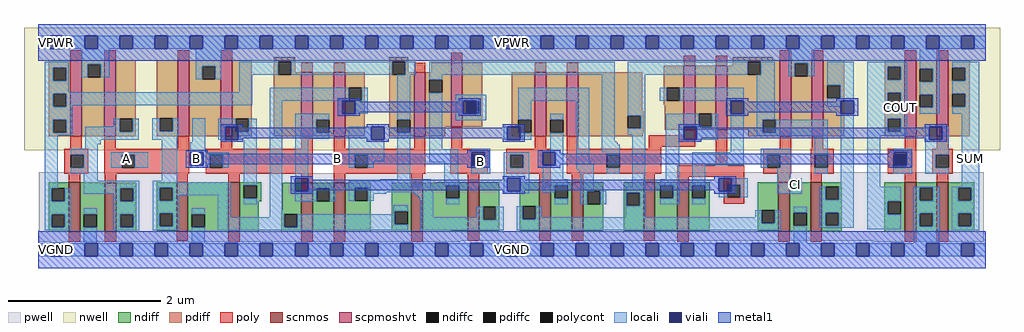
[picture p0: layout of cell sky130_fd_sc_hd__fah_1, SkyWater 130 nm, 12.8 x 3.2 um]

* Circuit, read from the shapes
.subckt sky130_fd_sc_hd__fah_1 A B CI VGND VNB VPB VPWR COUT SUM
XM1 VGND n1 n2 VNB sky130_fd_pr__nfet_01v8 w=0.65 l=0.15
XM2 n1 A VGND VNB sky130_fd_pr__nfet_01v8 w=0.64 l=0.15
XM3 VGND A n3 VNB sky130_fd_pr__nfet_01v8 w=0.64 l=0.15
XM4 n4 B VGND VNB sky130_fd_pr__nfet_01v8 w=0.65 l=0.15
XM5 n5 B n3 VNB sky130_fd_pr__nfet_01v8 w=0.64 l=0.15
XM6 n2 n4 n5 VNB sky130_fd_pr__nfet_01v8 w=0.64 l=0.15
XM7 n6 n4 n3 VNB sky130_fd_pr__nfet_01v8 w=0.64 l=0.15
XM8 n2 B n6 VNB sky130_fd_pr__nfet_01v8 w=0.64 l=0.15
XM9 n7 n5 n8 VNB sky130_fd_pr__nfet_01v8 w=0.64 l=0.15
XM10 n4 n6 n7 VNB sky130_fd_pr__nfet_01v8 w=0.64 l=0.15
XM11 n9 n6 n8 VNB sky130_fd_pr__nfet_01v8 w=0.64 l=0.15
XM12 n10 n5 n9 VNB sky130_fd_pr__nfet_01v8 w=0.64 l=0.15
XM13 VGND CI n8 VNB sky130_fd_pr__nfet_01v8 w=0.64 l=0.15
XM14 n10 n8 VGND VNB sky130_fd_pr__nfet_01v8 w=0.64 l=0.15
XM15 VGND n7 COUT VNB sky130_fd_pr__nfet_01v8 w=0.65 l=0.15
XM16 SUM n9 VGND VNB sky130_fd_pr__nfet_01v8 w=0.65 l=0.15
XM17 VPWR n1 n2 VPB sky130_fd_pr__pfet_01v8_hvt w=1 l=0.15
XM18 n1 A VPWR VPB sky130_fd_pr__pfet_01v8_hvt w=1 l=0.15
XM19 VPWR A n3 VPB sky130_fd_pr__pfet_01v8_hvt w=1 l=0.15
XM20 n4 B VPWR VPB sky130_fd_pr__pfet_01v8_hvt w=1 l=0.15
XM21 n5 B n2 VPB sky130_fd_pr__pfet_01v8_hvt w=0.84 l=0.15
XM22 n3 n4 n5 VPB sky130_fd_pr__pfet_01v8_hvt w=0.84 l=0.15
XM23 n6 n4 n2 VPB sky130_fd_pr__pfet_01v8_hvt w=0.84 l=0.15
XM24 n3 B n6 VPB sky130_fd_pr__pfet_01v8_hvt w=0.84 l=0.15
XM25 n7 n5 n4 VPB sky130_fd_pr__pfet_01v8_hvt w=0.84 l=0.15
XM26 n8 n6 n7 VPB sky130_fd_pr__pfet_01v8_hvt w=0.84 l=0.15
XM27 n9 n6 n10 VPB sky130_fd_pr__pfet_01v8_hvt w=0.84 l=0.15
XM28 n8 n5 n9 VPB sky130_fd_pr__pfet_01v8_hvt w=0.84 l=0.15
XM29 VPWR CI n8 VPB sky130_fd_pr__pfet_01v8_hvt w=1 l=0.15
XM30 n10 n8 VPWR VPB sky130_fd_pr__pfet_01v8_hvt w=1 l=0.15
XM31 VPWR n7 COUT VPB sky130_fd_pr__pfet_01v8_hvt w=1 l=0.15
XM32 SUM n9 VPWR VPB sky130_fd_pr__pfet_01v8_hvt w=1 l=0.15
.ends

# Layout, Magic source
magic
tech sky130B
magscale 1 2
<< nwell >>
rect -38 261 2522 582
<< pwell >>
rect 1 201 610 203
rect 1019 201 2480 203
rect 1 23 2480 201
rect 1 21 1106 23
rect 2192 21 2480 23
rect 29 -17 63 21
<< scnmos >>
rect 79 47 109 177
rect 174 47 204 175
rect 362 49 392 177
rect 498 47 528 177
rect 689 47 719 175
rect 774 47 804 175
rect 978 47 1008 175
rect 1126 49 1156 177
rect 1314 49 1344 177
rect 1399 49 1429 177
rect 1587 49 1617 177
rect 1675 49 1705 177
rect 1941 49 1971 177
rect 2025 49 2055 177
rect 2272 47 2302 177
rect 2356 47 2386 177
<< scpmoshvt >>
rect 83 297 113 497
rect 173 297 203 497
rect 365 297 395 497
rect 478 297 508 497
rect 689 297 719 465
rect 774 297 804 465
rect 985 297 1015 465
rect 1082 322 1112 490
rect 1302 297 1332 465
rect 1386 297 1416 465
rect 1692 315 1722 483
rect 1776 315 1806 483
rect 1944 297 1974 497
rect 2028 297 2058 497
rect 2272 297 2302 497
rect 2356 297 2386 497
<< ndiff >>
rect 27 161 79 177
rect 27 127 35 161
rect 69 127 79 161
rect 27 93 79 127
rect 27 59 35 93
rect 69 59 79 93
rect 27 47 79 59
rect 109 175 159 177
rect 109 93 174 175
rect 109 59 119 93
rect 153 59 174 93
rect 109 47 174 59
rect 204 161 256 175
rect 204 127 214 161
rect 248 127 256 161
rect 204 93 256 127
rect 204 59 214 93
rect 248 59 256 93
rect 204 47 256 59
rect 310 163 362 177
rect 310 129 318 163
rect 352 129 362 163
rect 310 95 362 129
rect 310 61 318 95
rect 352 61 362 95
rect 310 49 362 61
rect 392 93 498 177
rect 392 59 402 93
rect 436 59 498 93
rect 392 49 498 59
rect 431 47 498 49
rect 528 169 584 177
rect 1045 175 1126 177
rect 528 135 538 169
rect 572 135 584 169
rect 528 127 584 135
rect 528 47 578 127
rect 639 104 689 175
rect 637 93 689 104
rect 637 59 645 93
rect 679 59 689 93
rect 637 47 689 59
rect 719 161 774 175
rect 719 127 730 161
rect 764 127 774 161
rect 719 47 774 127
rect 804 163 872 175
rect 804 129 830 163
rect 864 129 872 163
rect 804 47 872 129
rect 926 101 978 175
rect 926 67 934 101
rect 968 67 978 101
rect 926 47 978 67
rect 1008 169 1126 175
rect 1008 135 1070 169
rect 1104 135 1126 169
rect 1008 49 1126 135
rect 1156 113 1208 177
rect 1156 79 1166 113
rect 1200 79 1208 113
rect 1156 49 1208 79
rect 1262 114 1314 177
rect 1262 80 1270 114
rect 1304 80 1314 114
rect 1262 49 1314 80
rect 1344 169 1399 177
rect 1344 135 1354 169
rect 1388 135 1399 169
rect 1344 49 1399 135
rect 1429 153 1481 177
rect 1429 119 1439 153
rect 1473 119 1481 153
rect 1429 49 1481 119
rect 1535 149 1587 177
rect 1535 115 1543 149
rect 1577 115 1587 149
rect 1535 49 1587 115
rect 1617 169 1675 177
rect 1617 135 1631 169
rect 1665 135 1675 169
rect 1617 49 1675 135
rect 1705 169 1761 177
rect 1705 135 1715 169
rect 1749 135 1761 169
rect 1705 49 1761 135
rect 1887 103 1941 177
rect 1887 69 1897 103
rect 1931 69 1941 103
rect 1887 49 1941 69
rect 1971 97 2025 177
rect 1971 63 1981 97
rect 2015 63 2025 97
rect 1971 49 2025 63
rect 2055 165 2107 177
rect 2055 131 2065 165
rect 2099 131 2107 165
rect 2055 97 2107 131
rect 2055 63 2065 97
rect 2099 63 2107 97
rect 2055 49 2107 63
rect 2218 127 2272 177
rect 2218 93 2228 127
rect 2262 93 2272 127
rect 1008 47 1080 49
rect 2218 47 2272 93
rect 2302 163 2356 177
rect 2302 129 2312 163
rect 2346 129 2356 163
rect 2302 95 2356 129
rect 2302 61 2312 95
rect 2346 61 2356 95
rect 2302 47 2356 61
rect 2386 163 2454 177
rect 2386 129 2412 163
rect 2446 129 2454 163
rect 2386 95 2454 129
rect 2386 61 2412 95
rect 2446 61 2454 95
rect 2386 47 2454 61
<< pdiff >>
rect 27 477 83 497
rect 27 443 39 477
rect 73 443 83 477
rect 27 409 83 443
rect 27 375 39 409
rect 73 375 83 409
rect 27 341 83 375
rect 27 307 39 341
rect 73 307 83 341
rect 27 297 83 307
rect 113 486 173 497
rect 113 452 129 486
rect 163 452 173 486
rect 113 297 173 452
rect 203 343 255 497
rect 203 309 213 343
rect 247 309 255 343
rect 203 297 255 309
rect 310 345 365 497
rect 310 311 318 345
rect 352 311 365 345
rect 310 297 365 311
rect 395 481 478 497
rect 395 447 429 481
rect 463 447 478 481
rect 395 297 478 447
rect 508 343 560 497
rect 508 309 518 343
rect 552 309 560 343
rect 508 297 560 309
rect 617 493 674 505
rect 617 459 629 493
rect 663 465 674 493
rect 920 493 970 505
rect 663 459 689 465
rect 617 297 689 459
rect 719 341 774 465
rect 719 307 729 341
rect 763 307 774 341
rect 719 297 774 307
rect 804 425 856 465
rect 804 391 814 425
rect 848 391 856 425
rect 804 297 856 391
rect 920 459 928 493
rect 962 465 970 493
rect 1030 465 1082 490
rect 962 459 985 465
rect 920 341 985 459
rect 920 307 941 341
rect 975 307 985 341
rect 920 297 985 307
rect 1015 446 1082 465
rect 1015 412 1025 446
rect 1059 412 1082 446
rect 1015 322 1082 412
rect 1112 390 1164 490
rect 1821 497 1926 505
rect 1821 493 1944 497
rect 1821 483 1861 493
rect 1112 356 1122 390
rect 1156 356 1164 390
rect 1112 322 1164 356
rect 1241 341 1302 465
rect 1015 297 1067 322
rect 1241 307 1258 341
rect 1292 307 1302 341
rect 1241 297 1302 307
rect 1332 341 1386 465
rect 1332 307 1342 341
rect 1376 307 1386 341
rect 1332 297 1386 307
rect 1416 363 1584 465
rect 1640 425 1692 483
rect 1640 391 1648 425
rect 1682 391 1692 425
rect 1640 380 1692 391
rect 1416 352 1588 363
rect 1416 318 1546 352
rect 1580 318 1588 352
rect 1416 308 1588 318
rect 1642 315 1692 380
rect 1722 357 1776 483
rect 1722 323 1732 357
rect 1766 323 1776 357
rect 1722 315 1776 323
rect 1806 459 1861 483
rect 1895 459 1944 493
rect 1806 341 1944 459
rect 1806 315 1900 341
rect 1416 307 1587 308
rect 1416 297 1585 307
rect 1862 307 1900 315
rect 1934 307 1944 341
rect 1862 297 1944 307
rect 1974 489 2028 497
rect 1974 455 1984 489
rect 2018 455 2028 489
rect 1974 297 2028 455
rect 2058 431 2114 497
rect 2058 397 2069 431
rect 2103 397 2114 431
rect 2058 297 2114 397
rect 2220 480 2272 497
rect 2220 446 2228 480
rect 2262 446 2272 480
rect 2220 412 2272 446
rect 2220 378 2228 412
rect 2262 378 2272 412
rect 2220 344 2272 378
rect 2220 310 2228 344
rect 2262 310 2272 344
rect 2220 297 2272 310
rect 2302 475 2356 497
rect 2302 441 2312 475
rect 2346 441 2356 475
rect 2302 407 2356 441
rect 2302 373 2312 407
rect 2346 373 2356 407
rect 2302 297 2356 373
rect 2386 477 2443 497
rect 2386 443 2397 477
rect 2431 443 2443 477
rect 2386 409 2443 443
rect 2386 375 2397 409
rect 2431 375 2443 409
rect 2386 297 2443 375
<< ndiffc >>
rect 35 127 69 161
rect 35 59 69 93
rect 119 59 153 93
rect 214 127 248 161
rect 214 59 248 93
rect 318 129 352 163
rect 318 61 352 95
rect 402 59 436 93
rect 538 135 572 169
rect 645 59 679 93
rect 730 127 764 161
rect 830 129 864 163
rect 934 67 968 101
rect 1070 135 1104 169
rect 1166 79 1200 113
rect 1270 80 1304 114
rect 1354 135 1388 169
rect 1439 119 1473 153
rect 1543 115 1577 149
rect 1631 135 1665 169
rect 1715 135 1749 169
rect 1897 69 1931 103
rect 1981 63 2015 97
rect 2065 131 2099 165
rect 2065 63 2099 97
rect 2228 93 2262 127
rect 2312 129 2346 163
rect 2312 61 2346 95
rect 2412 129 2446 163
rect 2412 61 2446 95
<< pdiffc >>
rect 39 443 73 477
rect 39 375 73 409
rect 39 307 73 341
rect 129 452 163 486
rect 213 309 247 343
rect 318 311 352 345
rect 429 447 463 481
rect 518 309 552 343
rect 629 459 663 493
rect 729 307 763 341
rect 814 391 848 425
rect 928 459 962 493
rect 941 307 975 341
rect 1025 412 1059 446
rect 1122 356 1156 390
rect 1258 307 1292 341
rect 1342 307 1376 341
rect 1648 391 1682 425
rect 1546 318 1580 352
rect 1732 323 1766 357
rect 1861 459 1895 493
rect 1900 307 1934 341
rect 1984 455 2018 489
rect 2069 397 2103 431
rect 2228 446 2262 480
rect 2228 378 2262 412
rect 2228 310 2262 344
rect 2312 441 2346 475
rect 2312 373 2346 407
rect 2397 443 2431 477
rect 2397 375 2431 409
<< poly >>
rect 83 497 113 523
rect 173 497 203 523
rect 365 497 395 523
rect 478 497 508 523
rect 689 465 719 491
rect 774 465 804 491
rect 985 465 1015 491
rect 1082 490 1112 516
rect 1302 465 1332 491
rect 1386 465 1416 491
rect 1692 483 1722 509
rect 1776 483 1806 509
rect 1944 497 1974 523
rect 2028 497 2058 523
rect 2272 497 2302 523
rect 2356 497 2386 523
rect 83 265 113 297
rect 173 265 203 297
rect 365 265 395 297
rect 478 265 508 297
rect 689 265 719 297
rect 67 249 131 265
rect 67 215 85 249
rect 119 215 131 249
rect 67 199 131 215
rect 173 249 395 265
rect 173 215 218 249
rect 252 215 395 249
rect 173 199 395 215
rect 439 249 719 265
rect 439 215 449 249
rect 483 215 719 249
rect 439 199 719 215
rect 79 177 109 199
rect 174 175 204 199
rect 362 177 392 199
rect 498 177 528 199
rect 79 21 109 47
rect 174 21 204 47
rect 362 23 392 49
rect 689 175 719 199
rect 774 265 804 297
rect 985 265 1015 297
rect 1082 265 1112 322
rect 1692 300 1722 315
rect 1302 265 1332 297
rect 1386 265 1416 297
rect 1601 270 1722 300
rect 1601 265 1633 270
rect 774 249 1015 265
rect 774 215 830 249
rect 864 215 1015 249
rect 774 199 1015 215
rect 1080 249 1179 265
rect 1080 215 1135 249
rect 1169 215 1179 249
rect 1080 199 1179 215
rect 1227 249 1344 265
rect 1227 215 1237 249
rect 1271 215 1344 249
rect 1227 199 1344 215
rect 1386 249 1633 265
rect 1386 215 1490 249
rect 1524 215 1633 249
rect 1776 222 1806 315
rect 1944 265 1974 297
rect 2028 265 2058 297
rect 2272 265 2302 297
rect 2356 265 2386 297
rect 1386 199 1633 215
rect 1675 221 1806 222
rect 1901 249 1974 265
rect 774 175 804 199
rect 978 175 1008 199
rect 1126 177 1156 199
rect 1314 177 1344 199
rect 1399 177 1429 199
rect 1587 177 1617 199
rect 1675 192 1851 221
rect 1901 215 1911 249
rect 1945 215 1974 249
rect 1901 199 1974 215
rect 2025 249 2086 265
rect 2025 215 2036 249
rect 2070 215 2086 249
rect 2025 199 2086 215
rect 2228 249 2302 265
rect 2228 215 2242 249
rect 2276 215 2302 249
rect 2228 199 2302 215
rect 2344 249 2398 265
rect 2344 215 2354 249
rect 2388 215 2398 249
rect 2344 199 2398 215
rect 1675 177 1705 192
rect 1797 171 1851 192
rect 1941 177 1971 199
rect 2025 177 2055 199
rect 2272 177 2302 199
rect 2356 177 2386 199
rect 1797 137 1807 171
rect 1841 137 1851 171
rect 1797 121 1851 137
rect 498 21 528 47
rect 689 21 719 47
rect 774 21 804 47
rect 978 21 1008 47
rect 1126 23 1156 49
rect 1314 23 1344 49
rect 1399 23 1429 49
rect 1587 23 1617 49
rect 1675 21 1705 49
rect 1941 21 1971 49
rect 2025 21 2055 49
rect 2272 21 2302 47
rect 2356 21 2386 47
<< polycont >>
rect 85 215 119 249
rect 218 215 252 249
rect 449 215 483 249
rect 830 215 864 249
rect 1135 215 1169 249
rect 1237 215 1271 249
rect 1490 215 1524 249
rect 1911 215 1945 249
rect 2036 215 2070 249
rect 2242 215 2276 249
rect 2354 215 2388 249
rect 1807 137 1841 171
<< locali >>
rect 0 527 29 561
rect 63 527 121 561
rect 155 527 213 561
rect 247 527 305 561
rect 339 527 397 561
rect 431 527 489 561
rect 523 527 581 561
rect 615 527 673 561
rect 707 527 765 561
rect 799 527 857 561
rect 891 527 949 561
rect 983 527 1041 561
rect 1075 527 1133 561
rect 1167 527 1225 561
rect 1259 527 1317 561
rect 1351 527 1409 561
rect 1443 527 1501 561
rect 1535 527 1593 561
rect 1627 527 1685 561
rect 1719 527 1777 561
rect 1811 527 1869 561
rect 1903 527 1961 561
rect 1995 527 2053 561
rect 2087 527 2145 561
rect 2179 527 2237 561
rect 2271 527 2329 561
rect 2363 527 2421 561
rect 2455 527 2484 561
rect 17 477 79 493
rect 17 443 39 477
rect 73 443 79 477
rect 113 486 186 527
rect 113 452 129 486
rect 163 452 186 486
rect 413 481 479 527
rect 413 447 429 481
rect 463 447 479 481
rect 527 459 629 493
rect 663 459 928 493
rect 962 459 990 493
rect 1025 459 1512 493
rect 17 413 79 443
rect 527 413 561 459
rect 17 409 561 413
rect 17 375 39 409
rect 73 379 561 409
rect 606 391 814 425
rect 848 391 864 425
rect 73 375 89 379
rect 17 341 89 375
rect 17 307 39 341
rect 73 307 89 341
rect 197 323 213 343
rect 17 300 89 307
rect 123 309 213 323
rect 247 309 263 343
rect 17 161 51 300
rect 123 291 263 309
rect 122 289 263 291
rect 298 311 318 345
rect 352 311 368 345
rect 298 300 368 311
rect 298 289 364 300
rect 122 276 163 289
rect 122 265 156 276
rect 85 249 156 265
rect 119 215 156 249
rect 190 249 288 255
rect 190 215 218 249
rect 252 215 288 249
rect 85 199 156 215
rect 119 181 156 199
rect 323 181 364 289
rect 403 282 438 345
rect 472 323 518 343
rect 472 289 490 323
rect 552 309 572 343
rect 524 289 572 309
rect 398 255 438 282
rect 432 249 499 255
rect 432 221 449 249
rect 398 215 449 221
rect 483 215 499 249
rect 119 161 264 181
rect 17 127 35 161
rect 69 127 85 161
rect 119 147 214 161
rect 17 93 85 127
rect 198 127 214 147
rect 248 127 264 161
rect 17 59 35 93
rect 69 59 85 93
rect 17 51 85 59
rect 119 93 153 109
rect 119 17 153 59
rect 198 93 264 127
rect 198 59 214 93
rect 248 59 264 93
rect 198 51 264 59
rect 300 177 364 181
rect 300 163 504 177
rect 300 129 318 163
rect 352 143 504 163
rect 352 129 368 143
rect 300 95 368 129
rect 300 61 318 95
rect 352 61 368 95
rect 300 51 368 61
rect 402 93 436 109
rect 402 17 436 59
rect 470 85 504 143
rect 538 169 572 289
rect 538 119 572 135
rect 606 93 640 391
rect 831 357 864 391
rect 674 341 763 357
rect 674 307 729 341
rect 941 341 975 459
rect 674 291 763 307
rect 674 187 708 291
rect 814 289 873 323
rect 814 249 907 289
rect 814 215 830 249
rect 864 232 907 249
rect 864 215 880 232
rect 941 185 975 307
rect 1025 446 1059 459
rect 1025 264 1059 412
rect 1095 391 1175 406
rect 1095 357 1114 391
rect 1148 390 1175 391
rect 1095 356 1122 357
rect 1156 356 1175 390
rect 1095 340 1175 356
rect 1258 391 1444 425
rect 1258 341 1292 391
rect 1221 289 1230 323
rect 1264 289 1292 307
rect 1342 341 1376 357
rect 1025 230 1101 264
rect 1064 185 1101 230
rect 1135 255 1185 265
rect 1342 255 1376 307
rect 1135 249 1136 255
rect 1170 221 1185 255
rect 1169 215 1185 221
rect 1135 199 1185 215
rect 1221 249 1287 255
rect 1221 215 1237 249
rect 1271 215 1287 249
rect 1221 187 1287 215
rect 896 181 1029 185
rect 814 163 1029 181
rect 1064 173 1104 185
rect 1067 169 1104 173
rect 1067 168 1070 169
rect 708 153 730 161
rect 674 127 730 153
rect 764 127 780 161
rect 814 129 830 163
rect 864 161 1029 163
rect 864 156 1031 161
rect 864 151 1034 156
rect 864 147 912 151
rect 985 148 1034 151
rect 985 147 1036 148
rect 864 129 880 147
rect 990 143 1036 147
rect 996 138 1036 143
rect 1000 131 1036 138
rect 930 101 968 117
rect 930 93 934 101
rect 606 85 645 93
rect 470 59 645 85
rect 679 67 934 93
rect 679 59 968 67
rect 470 51 968 59
rect 1002 85 1036 131
rect 1221 153 1230 187
rect 1264 153 1287 187
rect 1221 148 1287 153
rect 1356 221 1376 255
rect 1322 185 1376 221
rect 1410 235 1444 391
rect 1478 285 1512 459
rect 1546 459 1861 493
rect 1895 459 1931 493
rect 1546 352 1592 459
rect 1629 391 1648 425
rect 1682 391 1850 425
rect 1580 318 1592 352
rect 1546 302 1592 318
rect 1478 280 1515 285
rect 1478 275 1519 280
rect 1478 255 1524 275
rect 1490 249 1524 255
rect 1410 226 1449 235
rect 1410 212 1456 226
rect 1413 209 1456 212
rect 1418 202 1456 209
rect 1322 169 1388 185
rect 1322 151 1354 169
rect 1070 119 1104 135
rect 1354 119 1388 135
rect 1422 153 1456 202
rect 1490 199 1524 215
rect 1558 165 1592 302
rect 1645 323 1732 357
rect 1766 323 1782 357
rect 1645 289 1692 323
rect 1726 289 1782 323
rect 1645 185 1681 289
rect 1816 255 1850 357
rect 1884 341 1931 459
rect 1968 489 2035 527
rect 1968 455 1984 489
rect 2018 455 2035 489
rect 2069 431 2138 493
rect 2103 397 2138 431
rect 2069 391 2138 397
rect 2069 375 2104 391
rect 1884 307 1900 341
rect 1934 307 2070 341
rect 1884 299 2070 307
rect 1422 119 1439 153
rect 1473 119 1489 153
rect 1541 149 1592 165
rect 1541 115 1543 149
rect 1577 115 1592 149
rect 1631 169 1681 185
rect 1665 135 1681 169
rect 1631 119 1681 135
rect 1715 221 1850 255
rect 1895 249 1973 265
rect 1715 169 1749 221
rect 1895 215 1911 249
rect 1945 215 1973 249
rect 1938 187 1973 215
rect 2036 249 2070 299
rect 2036 199 2070 215
rect 1818 171 1860 187
rect 1784 137 1807 153
rect 1841 137 1860 171
rect 1938 147 2002 187
rect 2104 165 2138 357
rect 1715 119 1749 135
rect 2049 131 2065 165
rect 2099 131 2138 165
rect 1150 85 1166 113
rect 1002 79 1166 85
rect 1200 79 1220 113
rect 1002 51 1220 79
rect 1254 80 1270 114
rect 1304 85 1320 114
rect 1541 85 1592 115
rect 1880 85 1897 103
rect 1304 80 1897 85
rect 1254 69 1897 80
rect 1931 69 1947 103
rect 1254 51 1947 69
rect 1981 97 2015 113
rect 1981 17 2015 63
rect 2049 97 2138 131
rect 2049 63 2065 97
rect 2099 63 2138 97
rect 2049 57 2138 63
rect 2174 480 2278 493
rect 2174 446 2228 480
rect 2262 446 2278 480
rect 2174 412 2278 446
rect 2174 378 2228 412
rect 2262 378 2278 412
rect 2174 344 2278 378
rect 2312 475 2363 527
rect 2346 441 2363 475
rect 2312 407 2363 441
rect 2346 373 2363 407
rect 2312 357 2363 373
rect 2397 477 2467 493
rect 2431 443 2467 477
rect 2397 409 2467 443
rect 2431 375 2467 409
rect 2397 357 2467 375
rect 2174 310 2228 344
rect 2262 310 2278 344
rect 2174 299 2278 310
rect 2174 165 2208 299
rect 2326 289 2336 323
rect 2370 289 2388 323
rect 2242 255 2292 265
rect 2242 249 2244 255
rect 2278 221 2292 255
rect 2276 215 2292 221
rect 2242 199 2292 215
rect 2326 249 2388 289
rect 2326 215 2354 249
rect 2326 199 2388 215
rect 2422 165 2467 357
rect 2174 127 2262 165
rect 2174 93 2228 127
rect 2174 54 2262 93
rect 2296 163 2362 165
rect 2296 129 2312 163
rect 2346 129 2362 163
rect 2296 95 2362 129
rect 2296 61 2312 95
rect 2346 61 2362 95
rect 2296 17 2362 61
rect 2396 163 2467 165
rect 2396 129 2412 163
rect 2446 129 2467 163
rect 2396 95 2467 129
rect 2396 61 2412 95
rect 2446 61 2467 95
rect 2396 51 2467 61
rect 0 -17 29 17
rect 63 -17 121 17
rect 155 -17 213 17
rect 247 -17 305 17
rect 339 -17 397 17
rect 431 -17 489 17
rect 523 -17 581 17
rect 615 -17 673 17
rect 707 -17 765 17
rect 799 -17 857 17
rect 891 -17 949 17
rect 983 -17 1041 17
rect 1075 -17 1133 17
rect 1167 -17 1225 17
rect 1259 -17 1317 17
rect 1351 -17 1409 17
rect 1443 -17 1501 17
rect 1535 -17 1593 17
rect 1627 -17 1685 17
rect 1719 -17 1777 17
rect 1811 -17 1869 17
rect 1903 -17 1961 17
rect 1995 -17 2053 17
rect 2087 -17 2145 17
rect 2179 -17 2237 17
rect 2271 -17 2329 17
rect 2363 -17 2421 17
rect 2455 -17 2484 17
<< viali >>
rect 29 527 63 561
rect 121 527 155 561
rect 213 527 247 561
rect 305 527 339 561
rect 397 527 431 561
rect 489 527 523 561
rect 581 527 615 561
rect 673 527 707 561
rect 765 527 799 561
rect 857 527 891 561
rect 949 527 983 561
rect 1041 527 1075 561
rect 1133 527 1167 561
rect 1225 527 1259 561
rect 1317 527 1351 561
rect 1409 527 1443 561
rect 1501 527 1535 561
rect 1593 527 1627 561
rect 1685 527 1719 561
rect 1777 527 1811 561
rect 1869 527 1903 561
rect 1961 527 1995 561
rect 2053 527 2087 561
rect 2145 527 2179 561
rect 2237 527 2271 561
rect 2329 527 2363 561
rect 2421 527 2455 561
rect 490 309 518 323
rect 518 309 524 323
rect 490 289 524 309
rect 398 221 432 255
rect 797 357 831 391
rect 873 289 907 323
rect 674 153 708 187
rect 1114 390 1148 391
rect 1114 357 1122 390
rect 1122 357 1148 390
rect 1230 307 1258 323
rect 1258 307 1264 323
rect 1230 289 1264 307
rect 1136 249 1170 255
rect 1136 221 1169 249
rect 1169 221 1170 249
rect 1230 153 1264 187
rect 1322 221 1356 255
rect 1816 357 1850 391
rect 1692 289 1726 323
rect 2104 357 2138 391
rect 1784 171 1818 187
rect 1784 153 1807 171
rect 1807 153 1818 171
rect 2336 289 2370 323
rect 2244 249 2278 255
rect 2244 221 2276 249
rect 2276 221 2278 249
rect 29 -17 63 17
rect 121 -17 155 17
rect 213 -17 247 17
rect 305 -17 339 17
rect 397 -17 431 17
rect 489 -17 523 17
rect 581 -17 615 17
rect 673 -17 707 17
rect 765 -17 799 17
rect 857 -17 891 17
rect 949 -17 983 17
rect 1041 -17 1075 17
rect 1133 -17 1167 17
rect 1225 -17 1259 17
rect 1317 -17 1351 17
rect 1409 -17 1443 17
rect 1501 -17 1535 17
rect 1593 -17 1627 17
rect 1685 -17 1719 17
rect 1777 -17 1811 17
rect 1869 -17 1903 17
rect 1961 -17 1995 17
rect 2053 -17 2087 17
rect 2145 -17 2179 17
rect 2237 -17 2271 17
rect 2329 -17 2363 17
rect 2421 -17 2455 17
<< metal1 >>
rect 0 561 2484 592
rect 0 527 29 561
rect 63 527 121 561
rect 155 527 213 561
rect 247 527 305 561
rect 339 527 397 561
rect 431 527 489 561
rect 523 527 581 561
rect 615 527 673 561
rect 707 527 765 561
rect 799 527 857 561
rect 891 527 949 561
rect 983 527 1041 561
rect 1075 527 1133 561
rect 1167 527 1225 561
rect 1259 527 1317 561
rect 1351 527 1409 561
rect 1443 527 1501 561
rect 1535 527 1593 561
rect 1627 527 1685 561
rect 1719 527 1777 561
rect 1811 527 1869 561
rect 1903 527 1961 561
rect 1995 527 2053 561
rect 2087 527 2145 561
rect 2179 527 2237 561
rect 2271 527 2329 561
rect 2363 527 2421 561
rect 2455 527 2484 561
rect 0 496 2484 527
rect 785 391 843 397
rect 785 357 797 391
rect 831 388 843 391
rect 1102 391 1160 397
rect 1102 388 1114 391
rect 831 360 1114 388
rect 831 357 843 360
rect 785 351 843 357
rect 1102 357 1114 360
rect 1148 357 1160 391
rect 1102 351 1160 357
rect 1804 391 1862 397
rect 1804 357 1816 391
rect 1850 388 1862 391
rect 2092 391 2150 397
rect 2092 388 2104 391
rect 1850 360 2104 388
rect 1850 357 1862 360
rect 1804 351 1862 357
rect 2092 357 2104 360
rect 2138 357 2150 391
rect 2092 351 2150 357
rect 478 323 536 329
rect 478 289 490 323
rect 524 320 536 323
rect 861 323 919 329
rect 861 320 873 323
rect 524 292 873 320
rect 524 289 536 292
rect 478 283 536 289
rect 861 289 873 292
rect 907 320 919 323
rect 1218 323 1276 329
rect 1218 320 1230 323
rect 907 292 1230 320
rect 907 289 919 292
rect 861 283 919 289
rect 1218 289 1230 292
rect 1264 289 1276 323
rect 1218 283 1276 289
rect 1680 323 1738 329
rect 1680 289 1692 323
rect 1726 320 1738 323
rect 2324 323 2382 329
rect 2324 320 2336 323
rect 1726 292 2336 320
rect 1726 289 1738 292
rect 1680 283 1738 289
rect 2324 289 2336 292
rect 2370 289 2382 323
rect 2324 283 2382 289
rect 386 255 444 261
rect 386 221 398 255
rect 432 252 444 255
rect 1124 255 1182 261
rect 1124 252 1136 255
rect 432 224 1136 252
rect 432 221 444 224
rect 386 215 444 221
rect 1124 221 1136 224
rect 1170 221 1182 255
rect 1124 215 1182 221
rect 1310 255 1368 261
rect 1310 221 1322 255
rect 1356 252 1368 255
rect 2232 255 2290 261
rect 2232 252 2244 255
rect 1356 224 2244 252
rect 1356 221 1368 224
rect 1310 215 1368 221
rect 2232 221 2244 224
rect 2278 221 2290 255
rect 2232 215 2290 221
rect 662 187 720 193
rect 662 153 674 187
rect 708 184 720 187
rect 1218 187 1276 193
rect 1218 184 1230 187
rect 708 156 1230 184
rect 708 153 720 156
rect 662 147 720 153
rect 1218 153 1230 156
rect 1264 184 1276 187
rect 1772 187 1830 193
rect 1772 184 1784 187
rect 1264 156 1784 184
rect 1264 153 1276 156
rect 1218 147 1276 153
rect 1772 153 1784 156
rect 1818 153 1830 187
rect 1772 147 1830 153
rect 0 17 2484 48
rect 0 -17 29 17
rect 63 -17 121 17
rect 155 -17 213 17
rect 247 -17 305 17
rect 339 -17 397 17
rect 431 -17 489 17
rect 523 -17 581 17
rect 615 -17 673 17
rect 707 -17 765 17
rect 799 -17 857 17
rect 891 -17 949 17
rect 983 -17 1041 17
rect 1075 -17 1133 17
rect 1167 -17 1225 17
rect 1259 -17 1317 17
rect 1351 -17 1409 17
rect 1443 -17 1501 17
rect 1535 -17 1593 17
rect 1627 -17 1685 17
rect 1719 -17 1777 17
rect 1811 -17 1869 17
rect 1903 -17 1961 17
rect 1995 -17 2053 17
rect 2087 -17 2145 17
rect 2179 -17 2237 17
rect 2271 -17 2329 17
rect 2363 -17 2421 17
rect 2455 -17 2484 17
rect 0 -48 2484 -17
<< labels >>
flabel locali s 2244 357 2278 391 0 FreeSans 300 0 0 0 COUT
port 8 nsew signal output
flabel locali s 398 221 432 255 0 FreeSans 300 0 0 0 B
port 2 nsew signal input
flabel locali s 213 221 247 255 0 FreeSans 300 180 0 0 A
port 1 nsew signal input
flabel locali s 2428 221 2462 255 0 FreeSans 300 0 0 0 SUM
port 9 nsew signal output
flabel locali s 1968 153 2002 187 0 FreeSans 340 0 0 0 CI
port 3 nsew signal input
flabel metal1 s 415 238 415 238 0 FreeSans 300 0 0 0 B
flabel metal1 s 29 527 63 561 0 FreeSans 200 0 0 0 VPWR
port 7 nsew power bidirectional abutment
flabel metal1 s 29 -17 63 17 0 FreeSans 200 0 0 0 VGND
port 4 nsew ground bidirectional abutment
flabel pwell s 29 -17 63 17 0 FreeSans 200 0 0 0 VNB
port 5 nsew ground bidirectional
flabel nwell s 29 527 63 561 0 FreeSans 200 0 0 0 VPB
port 6 nsew power bidirectional
rlabel comment s 0 0 0 0 4 fah_1
rlabel locali s 1135 199 1185 265 1 B
port 2 nsew signal input
rlabel metal1 s 1124 252 1182 261 1 B
port 2 nsew signal input
rlabel metal1 s 1124 215 1182 224 1 B
port 2 nsew signal input
rlabel metal1 s 386 252 444 261 1 B
port 2 nsew signal input
rlabel metal1 s 386 224 1182 252 1 B
port 2 nsew signal input
rlabel metal1 s 386 215 444 224 1 B
port 2 nsew signal input
rlabel metal1 s 0 -48 2484 48 1 VGND
port 4 nsew ground bidirectional abutment
rlabel metal1 s 0 496 2484 592 1 VPWR
port 7 nsew power bidirectional abutment
<< properties >>
string FIXED_BBOX 0 0 2484 544
string GDS_END 2113468
string GDS_FILE $PDKPATH/libs.ref/sky130_fd_sc_hd/gds/sky130_fd_sc_hd.gds
string GDS_START 2094028
string LEFclass CORE
string LEFsite unithd
string LEFsymmetry X Y R90
string path 0.000 13.600 62.100 13.600 
<< end >>
